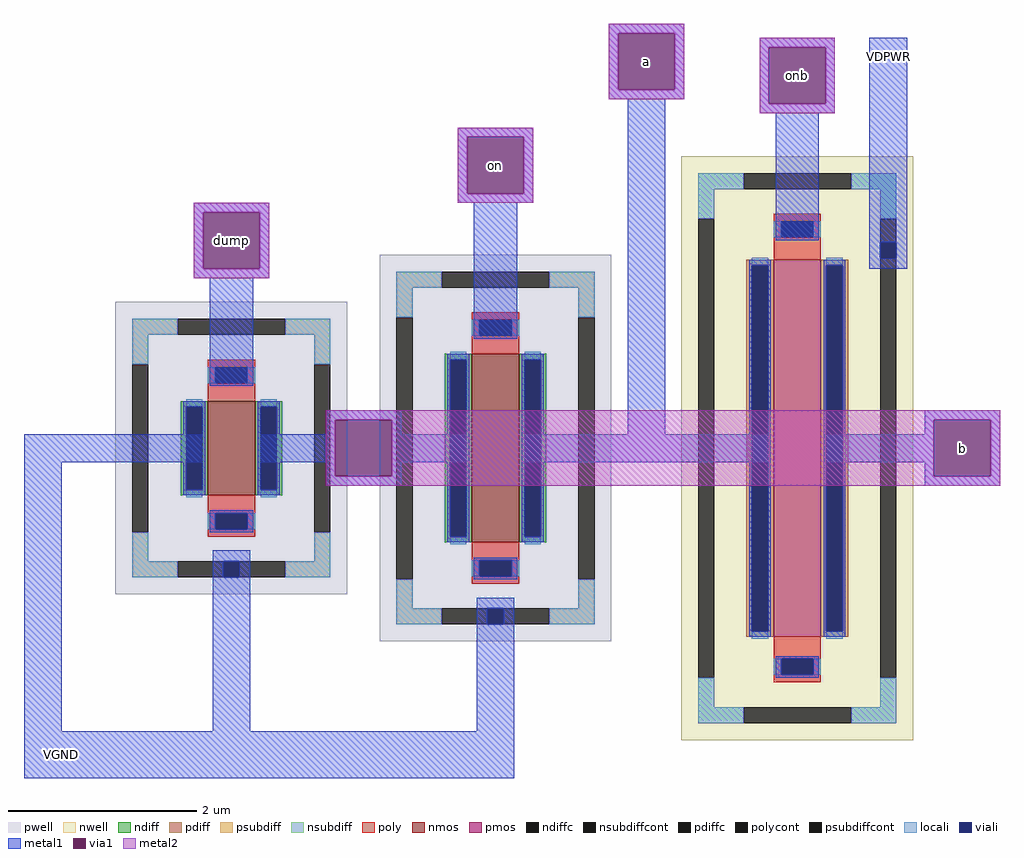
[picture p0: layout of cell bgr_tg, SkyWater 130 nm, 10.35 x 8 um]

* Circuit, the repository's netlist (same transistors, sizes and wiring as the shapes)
* bgr_tg: layout-only cell for a standalone LVS: one transmission gate + dump switch of the frozen bgr top level
* (XS_ichon_n / XS_ichon_p / XS_ichdump, and the same three for i3), with generic pin names:
* a = ich or vref, b = ichb or i3b, on / onb / dump = the gate controls. Device parameters copied unchanged.
.subckt bgr_tg a b on onb dump VDPWR VGND
XN b on a VGND sky130_fd_pr__nfet_01v8 L=0.5 W=2 nf=1 ad=0.58 as=0.58 pd=4.58 ps=4.58 nrd=0.145 nrs=0.145 sa=0 sb=0 sd=0
+ mult=1
XP b onb a VDPWR sky130_fd_pr__pfet_01v8 L=0.5 W=4 nf=1 ad=1.16 as=1.16 pd=8.58 ps=8.58 nrd=0.0725 nrs=0.0725 sa=0 sb=0
+ sd=0 mult=1
XD b dump VGND VGND sky130_fd_pr__nfet_01v8 L=0.5 W=1 nf=1 ad=0.29 as=0.29 pd=2.58 ps=2.58 nrd=0.29 nrs=0.29 sa=0 sb=0
+ sd=0 mult=1
.ends

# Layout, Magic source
magic
tech sky130A
magscale 1 2
<< viali >>
rect 1696 1103 1730 1137
rect 303 426 337 460
rect 863 326 897 360
<< metal1 >>
rect 1120 1580 1280 1600
rect 1120 1460 1140 1580
rect 1260 1460 1280 1580
rect 1120 1440 1280 1460
rect 1440 1550 1600 1570
rect 800 1360 960 1380
rect 800 1240 820 1360
rect 940 1240 960 1360
rect 800 1220 960 1240
rect 240 1200 400 1220
rect 240 1080 260 1200
rect 380 1080 400 1200
rect 240 1060 400 1080
rect 274 832 366 1060
rect 834 932 926 1220
rect 520 760 680 780
rect 520 730 540 760
rect -120 670 264 730
rect 376 670 540 730
rect -120 100 -40 670
rect 520 640 540 670
rect 660 730 680 760
rect 1160 730 1240 1440
rect 1440 1430 1460 1550
rect 1580 1430 1600 1550
rect 1440 1410 1600 1430
rect 1474 1141 1566 1410
rect 1673 1137 1753 1570
rect 1673 1103 1696 1137
rect 1730 1103 1753 1137
rect 1673 1080 1753 1103
rect 1790 760 1950 780
rect 1790 730 1810 760
rect 660 670 824 730
rect 936 670 1464 730
rect 1576 670 1810 730
rect 660 640 680 670
rect 520 620 680 640
rect 1790 640 1810 670
rect 1930 640 1950 760
rect 1790 620 1950 640
rect 280 460 360 483
rect 280 426 303 460
rect 337 426 360 460
rect 280 100 360 426
rect 840 360 920 383
rect 840 326 863 360
rect 897 326 920 360
rect 840 100 920 326
rect -120 0 920 100
<< via1 >>
rect 1140 1460 1260 1580
rect 820 1240 940 1360
rect 260 1080 380 1200
rect 540 640 660 760
rect 1460 1430 1580 1550
rect 1810 640 1930 760
<< metal2 >>
rect 1120 1580 1280 1600
rect 1120 1460 1140 1580
rect 1260 1460 1280 1580
rect 1120 1440 1280 1460
rect 1440 1550 1600 1570
rect 1440 1430 1460 1550
rect 1580 1430 1600 1550
rect 1440 1410 1600 1430
rect 800 1360 960 1380
rect 800 1240 820 1360
rect 940 1240 960 1360
rect 800 1220 960 1240
rect 240 1200 400 1220
rect 240 1080 260 1200
rect 380 1080 400 1200
rect 240 1060 400 1080
rect 520 760 1950 780
rect 520 640 540 760
rect 660 640 1810 760
rect 1930 640 1950 760
rect 520 620 1950 640
use sky130_fd_pr__nfet_01v8_FGWQMQ  XD
transform -1 0 320 0 1 700
box -246 -310 246 310
use sky130_fd_pr__nfet_01v8_AW7V4E  XN
transform 1 0 880 0 1 700
box -246 -410 246 410
use sky130_fd_pr__pfet_01v8_E7ZUG8  XP
transform -1 0 1520 0 1 700
box -246 -619 246 619
<< labels >>
rlabel metal2 240 1060 400 1220 0 dump
port 1 nsew
rlabel metal2 800 1220 960 1380 0 on
port 2 nsew
rlabel metal2 1440 1410 1600 1570 0 onb
port 3 nsew
rlabel metal2 1120 1440 1280 1600 0 a
port 4 nsew
rlabel metal2 1790 620 1950 780 0 b
port 5 nsew
rlabel metal1 -120 0 40 100 0 VGND
port 6 nsew
rlabel metal1 1673 1490 1753 1570 0 VDPWR
port 7 nsew
<< end >>

# cell sky130_fd_pr__nfet_01v8_FGWQMQ: kit device sky130_fd_pr__nfet_01v8, w 1 l 0.5 m 1 nf 1 diffcov 100 polycov 100 guard 1 glc 1 grc 1 gtc 1 gbc 1 tbcov 100 rlcov 100 topc 1 botc 1 poverlap 0 doverlap 1 lmin 0.15 wmin 0.42 class mosfet compatible {sky130_fd_pr__nfet_01v8 sky130_fd_pr__nfet_01v8_lvt sky130_fd_bs_flash__special_sonosfet_star sky130_fd_pr__nfet_g5v0d10v5 sky130_fd_pr__nfet_05v0_nvt sky130_fd_pr__nfet_03v3_nvt} full_metal 1 conn_gates 0 viasrc 100 viadrn 100 viagate 100 viagb 0 viagr 0 viagl 0 viagt 0 doports 1

# cell sky130_fd_pr__nfet_01v8_AW7V4E: kit device sky130_fd_pr__nfet_01v8, w 2 l 0.5 m 1 nf 1 diffcov 100 polycov 100 guard 1 glc 1 grc 1 gtc 1 gbc 1 tbcov 100 rlcov 100 topc 1 botc 1 poverlap 0 doverlap 1 lmin 0.15 wmin 0.42 class mosfet compatible {sky130_fd_pr__nfet_01v8 sky130_fd_pr__nfet_01v8_lvt sky130_fd_bs_flash__special_sonosfet_star sky130_fd_pr__nfet_g5v0d10v5 sky130_fd_pr__nfet_05v0_nvt sky130_fd_pr__nfet_03v3_nvt} full_metal 1 conn_gates 0 viasrc 100 viadrn 100 viagate 100 viagb 0 viagr 0 viagl 0 viagt 0 doports 1

# cell sky130_fd_pr__pfet_01v8_E7ZUG8: kit device sky130_fd_pr__pfet_01v8, w 4 l 0.5 m 1 nf 1 diffcov 100 polycov 100 guard 1 glc 1 grc 1 gtc 1 gbc 1 tbcov 100 rlcov 100 topc 1 botc 1 poverlap 0 doverlap 1 lmin 0.15 wmin 0.42 class mosfet compatible {sky130_fd_pr__pfet_01v8 sky130_fd_pr__pfet_01v8_lvt sky130_fd_pr__pfet_01v8_hvt sky130_fd_pr__pfet_g5v0d10v5} full_metal 1 conn_gates 0 viasrc 100 viadrn 100 viagate 100 viagb 0 viagr 0 viagl 0 viagt 0 doports 1
